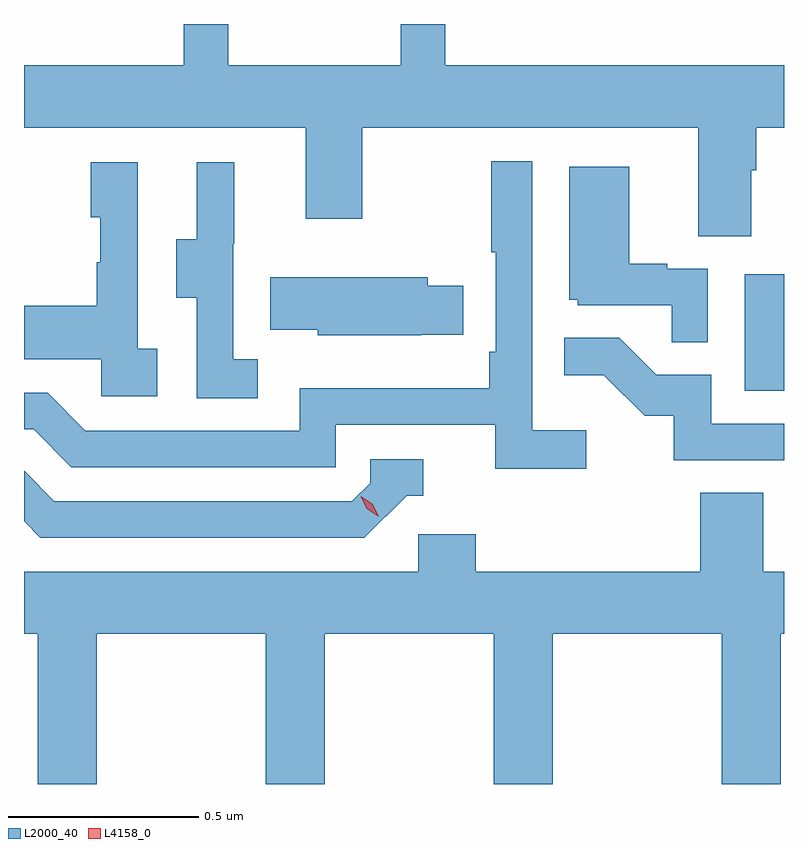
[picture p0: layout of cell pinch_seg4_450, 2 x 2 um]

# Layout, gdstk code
import gdstk
lib = gdstk.Library(unit=1e-6, precision=1e-09)
def R(c, l, rs):  # rectangles x0, y0, x1, y1
    for r in rs: c.add(gdstk.rectangle(r[:2], r[2:], *l))
def P(c, l, *ps):  # polygons
    for p in ps: c.add(gdstk.Polygon(p, *l))
L2000_40 = (2000, 40)
L4158_0 = (4158, 0)

pinch_seg4_450 = lib.new_cell('pinch_seg4_450')
R(pinch_seg4_450, L2000_40, [(899.516,789.468,899.619,789.775)])
P(pinch_seg4_450, L2000_40, [(899.533,790.048),(899.546,790.048),(899.546,790.16),(899.619,790.16),(899.619,790.324),(898.727,790.324),(898.727,790.433),(898.61,790.433),(898.61,790.324),(898.157,790.324),(898.157,790.433),(898.039,790.433),(898.039,790.324),(897.619,790.324),(897.619,790.16),(898.361,790.16),(898.361,789.921),(898.509,789.921),(898.509,790.16),(899.393,790.16),(899.393,789.874),(899.533,789.874)],
  [(899.098,789.364),(898.956,789.364),(898.956,790.072),(898.848,790.072),(898.848,789.832),(898.86,789.832),(898.86,789.571),(898.843,789.571),(898.843,789.475),(898.344,789.475),(898.344,789.363),(897.78,789.363),(897.681,789.462),(897.619,789.462),(897.619,789.366),(897.644,789.366),(897.743,789.267),(898.44,789.267),(898.44,789.378),(898.859,789.378),(898.859,789.262),(899.098,789.262)],
  [(897.97,789.578),(897.918,789.578),(897.918,790.069),(897.794,790.069),(897.794,789.924),(897.82,789.924),(897.82,789.806),(897.81,789.806),(897.81,789.691),(897.619,789.691),(897.619,789.551),(897.822,789.551),(897.822,789.453),(897.97,789.453)],
  [(898.234,789.551),(898.17,789.551),(898.17,789.855),(898.172,789.855),(898.172,790.069),(898.073,790.069),(898.073,789.867),(898.019,789.867),(898.019,789.712),(898.074,789.712),(898.074,789.448),(898.234,789.448)],
  [(899.418,789.789),(899.312,789.789),(899.312,789.802),(899.212,789.802),(899.212,790.057),(899.054,790.057),(899.054,789.708),(899.076,789.708),(899.076,789.693),(899.323,789.693),(899.323,789.595),(899.418,789.595)],
  [(898.664,789.615),(898.775,789.615),(898.775,789.744),(898.681,789.744),(898.681,789.766),(898.267,789.766),(898.267,789.629),(898.392,789.629),(898.392,789.614),(898.664,789.614)],
  [(899.619,789.381),(899.427,789.381),(899.427,789.51),(899.283,789.51),(899.185,789.608),(899.041,789.608),(899.041,789.509),(899.145,789.509),(899.252,789.402),(899.329,789.402),(899.329,789.285),(899.619,789.285)],
  [(898.626,789.192),(898.669,789.192),(898.669,789.288),(898.53,789.288),(898.53,789.225),(898.482,789.177),(897.699,789.177),(897.619,789.257),(897.619,789.124),(897.662,789.081),(898.515,789.081)],
  [(897.619,788.828),(897.655,788.828),(897.655,788.433),(897.81,788.433),(897.81,788.828),(898.255,788.828),(898.255,788.433),(898.41,788.433),(898.41,788.828),(898.855,788.828),(898.855,788.433),(899.01,788.433),(899.01,788.828),(899.455,788.828),(899.455,788.433),(899.61,788.433),(899.61,788.828),(899.619,788.828),(899.619,788.992),(899.564,788.992),(899.564,789.2),(899.399,789.2),(899.399,788.992),(898.808,788.992),(898.808,789.09),(898.656,789.09),(898.656,788.992),(897.619,788.992)])
P(pinch_seg4_450, L4158_0, [(898.551,789.138),(898.521,789.157),(898.505,789.19),(898.505,789.19),(898.505,789.19),(898.536,789.171),(898.552,789.138),(898.552,789.138)])

lib.write_gds('pinch_seg4_450.gds')
